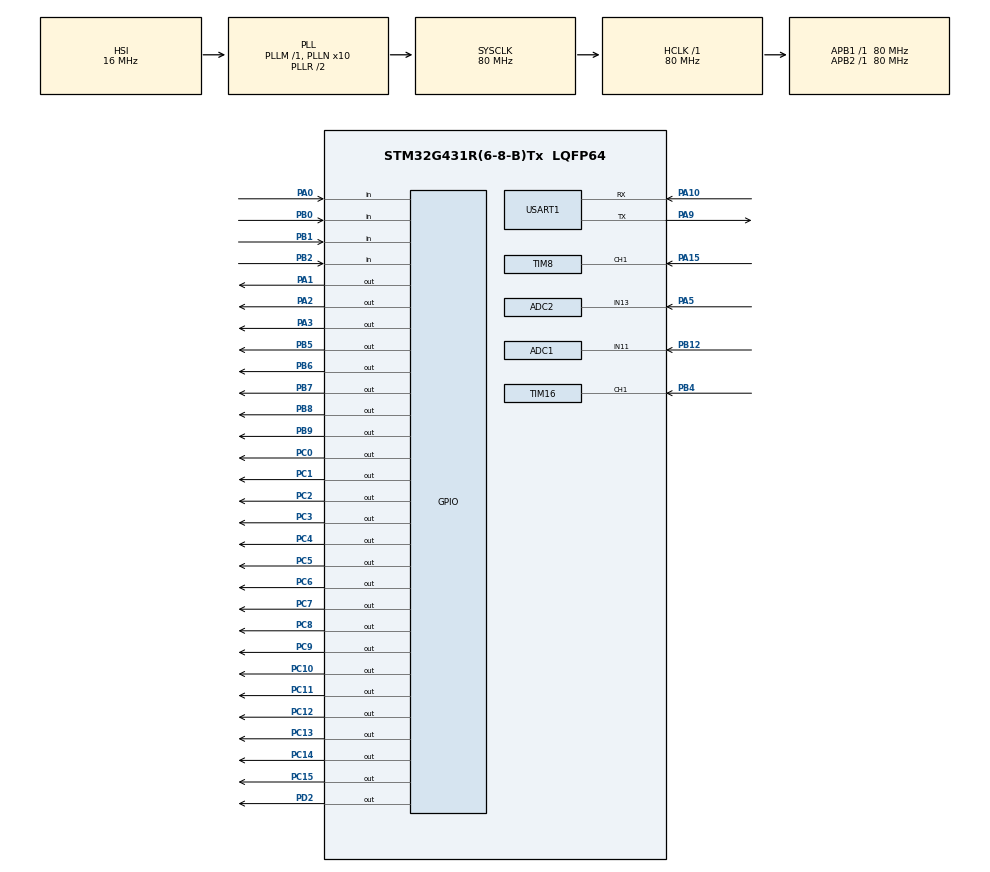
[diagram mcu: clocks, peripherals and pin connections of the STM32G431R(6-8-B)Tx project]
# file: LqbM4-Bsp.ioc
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ADC1.Channel-2\#ChannelRegularConversion=ADC_CHANNEL_11
ADC1.NbrOfConversionFlag=1
ADC1.OffsetNumber-2\#ChannelRegularConversion=ADC_OFFSET_NONE
ADC1.Rank-2\#ChannelRegularConversion=1
ADC1.SamplingTime-2\#ChannelRegularConversion=ADC_SAMPLETIME_2CYCLES_5
ADC1.master=1
ADC2.Channel-2\#ChannelRegularConversion=ADC_CHANNEL_13
ADC2.NbrOfConversionFlag=1
ADC2.OffsetNumber-2\#ChannelRegularConversion=ADC_OFFSET_NONE
ADC2.Rank-2\#ChannelRegularConversion=1
ADC2.SamplingTime-2\#ChannelRegularConversion=ADC_SAMPLETIME_2CYCLES_5
Dma.Request0=USART1_RX
Dma.USART1_RX.0.Direction=DMA_PERIPH_TO_MEMORY
Dma.USART1_RX.0.EventEnable=DISABLE
Dma.USART1_RX.0.Instance=DMA1_Channel1
Dma.USART1_RX.0.MemDataAlignment=DMA_MDATAALIGN_BYTE
Dma.USART1_RX.0.MemInc=DMA_MINC_ENABLE
Dma.USART1_RX.0.Mode=DMA_CIRCULAR
Dma.USART1_RX.0.PeriphDataAlignment=DMA_PDATAALIGN_BYTE
Dma.USART1_RX.0.PeriphInc=DMA_PINC_DISABLE
Dma.USART1_RX.0.Polarity=HAL_DMAMUX_REQ_GEN_RISING
Dma.USART1_RX.0.Priority=DMA_PRIORITY_LOW
Dma.USART1_RX.0.RequestNumber=1
Dma.USART1_RX.0.SignalID=NONE
Dma.USART1_RX.0.SyncEnable=DISABLE
Dma.USART1_RX.0.SyncPolarity=HAL_DMAMUX_SYNC_NO_EVENT
Dma.USART1_RX.0.SyncRequestNumber=1
Dma.USART1_RX.0.SyncSignalID=NONE
Mcu.Family=STM32G4
Mcu.Name=STM32G431R(6-8-B)Tx
Mcu.Package=LQFP64
NVIC.DMA1_Channel1_IRQn=true\:0\:0\:false\:false\:true\:false\:true
NVIC.PriorityGroup=NVIC_PRIORITYGROUP_4
NVIC.TIM1_UP_TIM16_IRQn=true\:0\:0\:false\:false\:true\:true\:true
NVIC.TIM8_CC_IRQn=true\:0\:0\:false\:false\:true\:true\:true
PA0.Signal=GPIO_Input
PA1.Signal=GPIO_Output
PA10.Mode=Asynchronous
PA10.Signal=USART1_RX
PA15.Signal=S_TIM8_CH1
PA2.Signal=GPIO_Output
PA3.Signal=GPIO_Output
PA5.Mode=IN13-Single-Ended
PA5.Signal=ADC2_IN13
PA9.Mode=Asynchronous
PA9.Signal=USART1_TX
PB0.Signal=GPIO_Input
PB1.Signal=GPIO_Input
PB12.Mode=IN11-Single-Ended
PB12.Signal=ADC1_IN11
PB2.Signal=GPIO_Input
PB4.Signal=S_TIM16_CH1
PB5.Signal=GPIO_Output
PB6.Signal=GPIO_Output
PB7.Signal=GPIO_Output
PB8-BOOT0.Signal=GPIO_Output
PB9.Signal=GPIO_Output
PC0.Signal=GPIO_Output
PC1.Signal=GPIO_Output
PC10.Signal=GPIO_Output
PC11.Signal=GPIO_Output
PC12.Signal=GPIO_Output
PC13.Signal=GPIO_Output
PC14-OSC32_IN.Signal=GPIO_Output
PC15-OSC32_OUT.Signal=GPIO_Output
PC2.Signal=GPIO_Output
PC3.Signal=GPIO_Output
PC4.Signal=GPIO_Output
PC5.Signal=GPIO_Output
PC6.Signal=GPIO_Output
PC7.Signal=GPIO_Output
PC8.Signal=GPIO_Output
PC9.Signal=GPIO_Output
PD2.Signal=GPIO_Output
PF0-OSC_IN.Mode=HSE-External-Oscillator
PF0-OSC_IN.Signal=RCC_OSC_IN
PF1-OSC_OUT.Mode=HSE-External-Oscillator
PF1-OSC_OUT.Signal=RCC_OSC_OUT
ProjectManager.HeapSize=0x200
ProjectManager.StackSize=0x400
ProjectManager.TargetToolchain=Other Toolchains (GPDSC)
RCC.ADC12Freq_Value=80000000
RCC.AHBFreq_Value=80000000
RCC.APB1Freq_Value=80000000
RCC.APB1TimFreq_Value=80000000
RCC.APB2Freq_Value=80000000
RCC.APB2TimFreq_Value=80000000
RCC.CortexFreq_Value=80000000
RCC.EXTERNAL_CLOCK_VALUE=12288000
RCC.HCLKFreq_Value=80000000
RCC.HSE_VALUE=24000000
RCC.HSI48_VALUE=48000000
RCC.HSI_VALUE=16000000
RCC.LSE_VALUE=32768
RCC.PLLN=10
RCC.SYSCLKFreq_VALUE=80000000
RCC.SYSCLKSource=RCC_SYSCLKSOURCE_PLLCLK
RCC.USBFreq_Value=80000000
RCC.VCOOutputFreq_Value=160000000
SH.S_TIM16_CH1.0=TIM16_CH1,Input_Capture1_from_TI1
SH.S_TIM8_CH1.0=TIM8_CH1,Input_Capture1_from_TI1
TIM16.AutoReloadPreload=TIM_AUTORELOAD_PRELOAD_ENABLE
TIM16.Channel=TIM_CHANNEL_1
TIM8.AutoReloadPreload=TIM_AUTORELOAD_PRELOAD_ENABLE
TIM8.Channel-Input_Capture1_from_TI1=TIM_CHANNEL_1
USART1.VirtualMode-Asynchronous=VM_ASYNC
VP_SYS_VS_DBSignals.Mode=DisableDeadBatterySignals
VP_TIM16_VS_ClockSourceINT.Mode=Enable_Timer
VP_TIM8_VS_ClockSourceINT.Mode=Internal
board=custom

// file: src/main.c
/* USER CODE BEGIN Header */
/**
  ******************************************************************************
  * @file           : main.c
  * @brief          : Main program body
  ******************************************************************************
  * @attention
  *
  * <h2><center>&copy; Copyright (c) 2021 STMicroelectronics.
  * All rights reserved.</center></h2>
  *
  * This software component is licensed by ST under BSD 3-Clause license,
  * the "License"; You may not use this file except in compliance with the
  * License. You may obtain a copy of the License at:
  *                        opensource.org/licenses/BSD-3-Clause
  *
  ******************************************************************************
  */
/* USER CODE END Header */
#include "main.h"

/* USER CODE BEGIN Includes */
#include "M4Bsp.h"
#include "lcd.h"
/* USER CODE END Includes */

ADC_HandleTypeDef hadc1;
ADC_HandleTypeDef hadc2;

TIM_HandleTypeDef htim8;
TIM_HandleTypeDef htim16;

UART_HandleTypeDef huart1;
DMA_HandleTypeDef hdma_usart1_rx;

/* USER CODE BEGIN PV */
uint8_t LEDStatus = 0x00;
/* USER CODE END PV */

void SystemClock_Config(void);
static void MX_GPIO_Init(void);
static void MX_DMA_Init(void);
static void MX_ADC2_Init(void);
static void MX_ADC1_Init(void);
static void MX_USART1_UART_Init(void);
static void MX_TIM16_Init(void);
static void MX_TIM8_Init(void);

int main(void)
{

  /* MCU Configuration--------------------------------------------------------*/

  /* Reset of all peripherals, Initializes the Flash interface and the Systick. */
  HAL_Init();

  /* Configure the system clock */
  SystemClock_Config();

  /* Initialize all configured peripherals */
  MX_GPIO_Init();
  MX_DMA_Init();
  MX_ADC2_Init();
  MX_ADC1_Init();
  MX_USART1_UART_Init();
  MX_TIM16_Init();
  MX_TIM8_Init();

  /* Infinite loop */
  /* USER CODE BEGIN WHILE */
  LCD_Init();
  LCD_Clear(Black);
  LCD_SetBackColor(Black);
  LCD_SetTextColor(White);

  char str[23] = "   Test Program  ";
  float DS18B20 = 0;
  uint8_t DHT11[2] = {0};
  uint16_t ICPeriod[2] = {0};
  float ADCR38 = 0;

  uint32_t DHT11LastTick = 0, DHT11NowTick = 0;

  LCD_DisplayStringLine(Line0, (uint8_t *)str);
  while (1)
  {
    // Keys Test
    M4_Key_Scan();

    // ADC Keys Test
    M4_EX_ADCKey_Scan();

    // Input capture(R39 R40)
    M4_R39IC_Start();
    M4_R40IC_Start();
    HAL_Delay(2);
    ICPeriod[0] = M4_R39IC_GetPeriod();
    ICPeriod[1] = M4_R40IC_GetPeriod();
    M4_R39IC_Stop();
    M4_R40IC_Stop();

    sprintf(str, " R39:%d R40:%d  ", ICPeriod[0], ICPeriod[1]);
    LCD_DisplayStringLine(Line2, (uint8_t *)str);

    // ADC Test
    ADCR38 = M4_R38_GetValue();
    sprintf(str, " R38:%.2fV         ", ADCR38);
    LCD_DisplayStringLine(Line3, (uint8_t *)str);

    // DS18B20 Test
    M4_EX_TS_Convert();
    DS18B20 = M4_EX_TS_Read();

    sprintf(str, " DS18B20:%.4f    ", DS18B20);
    LCD_DisplayStringLine(Line5, (uint8_t *)str);

    // DHT11 Test
    DHT11NowTick = HAL_GetTick();
    if(DHT11NowTick - DHT11LastTick > 1000)
    {
      M4_EX_THS_Read(DHT11, DHT11 + 1);
      DHT11LastTick = DHT11NowTick;
    }

    sprintf(str, " DHT11:%dC  %d%%  ", DHT11[0], DHT11[1]);
    LCD_DisplayStringLine(Line6, (uint8_t *)str);

    /* USER CODE END WHILE */

  }
}

void SystemClock_Config(void)
{
  RCC_OscInitTypeDef RCC_OscInitStruct = {0};
  RCC_ClkInitTypeDef RCC_ClkInitStruct = {0};
  RCC_PeriphCLKInitTypeDef PeriphClkInit = {0};

  /** Configure the main internal regulator output voltage
  */
  HAL_PWREx_ControlVoltageScaling(PWR_REGULATOR_VOLTAGE_SCALE1);
  /** Initializes the RCC Oscillators according to the specified parameters
  * in the RCC_OscInitTypeDef structure.
  */
  RCC_OscInitStruct.OscillatorType = RCC_OSCILLATORTYPE_HSI;
  RCC_OscInitStruct.HSIState = RCC_HSI_ON;
  RCC_OscInitStruct.HSICalibrationValue = RCC_HSICALIBRATION_DEFAULT;
  RCC_OscInitStruct.PLL.PLLState = RCC_PLL_ON;
  RCC_OscInitStruct.PLL.PLLSource = RCC_PLLSOURCE_HSI;
  RCC_OscInitStruct.PLL.PLLM = RCC_PLLM_DIV1;
  RCC_OscInitStruct.PLL.PLLN = 10;
  RCC_OscInitStruct.PLL.PLLP = RCC_PLLP_DIV2;
  RCC_OscInitStruct.PLL.PLLQ = RCC_PLLQ_DIV2;
  RCC_OscInitStruct.PLL.PLLR = RCC_PLLR_DIV2;
  if (HAL_RCC_OscConfig(&RCC_OscInitStruct) != HAL_OK)
  {
    Error_Handler();
  }
  /** Initializes the CPU, AHB and APB buses clocks
  */
  RCC_ClkInitStruct.ClockType = RCC_CLOCKTYPE_HCLK|RCC_CLOCKTYPE_SYSCLK
                              |RCC_CLOCKTYPE_PCLK1|RCC_CLOCKTYPE_PCLK2;
  RCC_ClkInitStruct.SYSCLKSource = RCC_SYSCLKSOURCE_PLLCLK;
  RCC_ClkInitStruct.AHBCLKDivider = RCC_SYSCLK_DIV1;
  RCC_ClkInitStruct.APB1CLKDivider = RCC_HCLK_DIV1;
  RCC_ClkInitStruct.APB2CLKDivider = RCC_HCLK_DIV1;

  if (HAL_RCC_ClockConfig(&RCC_ClkInitStruct, FLASH_LATENCY_2) != HAL_OK)
  {
    Error_Handler();
  }
  /** Initializes the peripherals clocks
  */
  PeriphClkInit.PeriphClockSelection = RCC_PERIPHCLK_USART1|RCC_PERIPHCLK_ADC12;
  PeriphClkInit.Usart1ClockSelection = RCC_USART1CLKSOURCE_PCLK2;
  PeriphClkInit.Adc12ClockSelection = RCC_ADC12CLKSOURCE_SYSCLK;
  if (HAL_RCCEx_PeriphCLKConfig(&PeriphClkInit) != HAL_OK)
  {
    Error_Handler();
  }
}

static void MX_ADC1_Init(void)
{

  ADC_MultiModeTypeDef multimode = {0};
  ADC_ChannelConfTypeDef sConfig = {0};

  /** Common config
  */
  hadc1.Instance = ADC1;
  hadc1.Init.ClockPrescaler = ADC_CLOCK_SYNC_PCLK_DIV2;
  hadc1.Init.Resolution = ADC_RESOLUTION_12B;
  hadc1.Init.DataAlign = ADC_DATAALIGN_RIGHT;
  hadc1.Init.GainCompensation = 0;
  hadc1.Init.ScanConvMode = ADC_SCAN_DISABLE;
  hadc1.Init.EOCSelection = ADC_EOC_SINGLE_CONV;
  hadc1.Init.LowPowerAutoWait = DISABLE;
  hadc1.Init.ContinuousConvMode = DISABLE;
  hadc1.Init.NbrOfConversion = 1;
  hadc1.Init.DiscontinuousConvMode = DISABLE;
  hadc1.Init.ExternalTrigConv = ADC_SOFTWARE_START;
  hadc1.Init.ExternalTrigConvEdge = ADC_EXTERNALTRIGCONVEDGE_NONE;
  hadc1.Init.DMAContinuousRequests = DISABLE;
  hadc1.Init.Overrun = ADC_OVR_DATA_PRESERVED;
  hadc1.Init.OversamplingMode = DISABLE;
  if (HAL_ADC_Init(&hadc1) != HAL_OK)
  {
    Error_Handler();
  }
  /** Configure the ADC multi-mode
  */
  multimode.Mode = ADC_MODE_INDEPENDENT;
  if (HAL_ADCEx_MultiModeConfigChannel(&hadc1, &multimode) != HAL_OK)
  {
    Error_Handler();
  }
  /** Configure Regular Channel
  */
  sConfig.Channel = ADC_CHANNEL_11;
  sConfig.Rank = ADC_REGULAR_RANK_1;
  sConfig.SamplingTime = ADC_SAMPLETIME_2CYCLES_5;
  sConfig.SingleDiff = ADC_SINGLE_ENDED;
  sConfig.OffsetNumber = ADC_OFFSET_NONE;
  sConfig.Offset = 0;
  if (HAL_ADC_ConfigChannel(&hadc1, &sConfig) != HAL_OK)
  {
    Error_Handler();
  }

}

static void MX_ADC2_Init(void)
{

  ADC_ChannelConfTypeDef sConfig = {0};

  /** Common config
  */
  hadc2.Instance = ADC2;
  hadc2.Init.ClockPrescaler = ADC_CLOCK_SYNC_PCLK_DIV2;
  hadc2.Init.Resolution = ADC_RESOLUTION_12B;
  hadc2.Init.DataAlign = ADC_DATAALIGN_RIGHT;
  hadc2.Init.GainCompensation = 0;
  hadc2.Init.ScanConvMode = ADC_SCAN_DISABLE;
  hadc2.Init.EOCSelection = ADC_EOC_SINGLE_CONV;
  hadc2.Init.LowPowerAutoWait = DISABLE;
  hadc2.Init.ContinuousConvMode = DISABLE;
  hadc2.Init.NbrOfConversion = 1;
  hadc2.Init.DiscontinuousConvMode = DISABLE;
  hadc2.Init.ExternalTrigConv = ADC_SOFTWARE_START;
  hadc2.Init.ExternalTrigConvEdge = ADC_EXTERNALTRIGCONVEDGE_NONE;
  hadc2.Init.DMAContinuousRequests = DISABLE;
  hadc2.Init.Overrun = ADC_OVR_DATA_PRESERVED;
  hadc2.Init.OversamplingMode = DISABLE;
  if (HAL_ADC_Init(&hadc2) != HAL_OK)
  {
    Error_Handler();
  }
  /** Configure Regular Channel
  */
  sConfig.Channel = ADC_CHANNEL_13;
  sConfig.Rank = ADC_REGULAR_RANK_1;
  sConfig.SamplingTime = ADC_SAMPLETIME_2CYCLES_5;
  sConfig.SingleDiff = ADC_SINGLE_ENDED;
  sConfig.OffsetNumber = ADC_OFFSET_NONE;
  sConfig.Offset = 0;
  if (HAL_ADC_ConfigChannel(&hadc2, &sConfig) != HAL_OK)
  {
    Error_Handler();
  }

}

static void MX_TIM8_Init(void)
{

  TIM_ClockConfigTypeDef sClockSourceConfig = {0};
  TIM_MasterConfigTypeDef sMasterConfig = {0};
  TIM_IC_InitTypeDef sConfigIC = {0};

  htim8.Instance = TIM8;
  htim8.Init.Prescaler = 0;
  htim8.Init.CounterMode = TIM_COUNTERMODE_UP;
  htim8.Init.Period = 65535;
  htim8.Init.ClockDivision = TIM_CLOCKDIVISION_DIV1;
  htim8.Init.RepetitionCounter = 0;
  htim8.Init.AutoReloadPreload = TIM_AUTORELOAD_PRELOAD_ENABLE;
  if (HAL_TIM_Base_Init(&htim8) != HAL_OK)
  {
    Error_Handler();
  }
  sClockSourceConfig.ClockSource = TIM_CLOCKSOURCE_INTERNAL;
  if (HAL_TIM_ConfigClockSource(&htim8, &sClockSourceConfig) != HAL_OK)
  {
    Error_Handler();
  }
  if (HAL_TIM_IC_Init(&htim8) != HAL_OK)
  {
    Error_Handler();
  }
  sMasterConfig.MasterOutputTrigger = TIM_TRGO_RESET;
  sMasterConfig.MasterOutputTrigger2 = TIM_TRGO2_RESET;
  sMasterConfig.MasterSlaveMode = TIM_MASTERSLAVEMODE_DISABLE;
  if (HAL_TIMEx_MasterConfigSynchronization(&htim8, &sMasterConfig) != HAL_OK)
  {
    Error_Handler();
  }
  sConfigIC.ICPolarity = TIM_INPUTCHANNELPOLARITY_RISING;
  sConfigIC.ICSelection = TIM_ICSELECTION_DIRECTTI;
  sConfigIC.ICPrescaler = TIM_ICPSC_DIV1;
  sConfigIC.ICFilter = 0;
  if (HAL_TIM_IC_ConfigChannel(&htim8, &sConfigIC, TIM_CHANNEL_1) != HAL_OK)
  {
    Error_Handler();
  }

}

static void MX_TIM16_Init(void)
{

  TIM_IC_InitTypeDef sConfigIC = {0};

  htim16.Instance = TIM16;
  htim16.Init.Prescaler = 0;
  htim16.Init.CounterMode = TIM_COUNTERMODE_UP;
  htim16.Init.Period = 65535;
  htim16.Init.ClockDivision = TIM_CLOCKDIVISION_DIV1;
  htim16.Init.RepetitionCounter = 0;
  htim16.Init.AutoReloadPreload = TIM_AUTORELOAD_PRELOAD_ENABLE;
  if (HAL_TIM_Base_Init(&htim16) != HAL_OK)
  {
    Error_Handler();
  }
  if (HAL_TIM_IC_Init(&htim16) != HAL_OK)
  {
    Error_Handler();
  }
  sConfigIC.ICPolarity = TIM_INPUTCHANNELPOLARITY_RISING;
  sConfigIC.ICSelection = TIM_ICSELECTION_DIRECTTI;
  sConfigIC.ICPrescaler = TIM_ICPSC_DIV1;
  sConfigIC.ICFilter = 0;
  if (HAL_TIM_IC_ConfigChannel(&htim16, &sConfigIC, TIM_CHANNEL_1) != HAL_OK)
  {
    Error_Handler();
  }

}

static void MX_USART1_UART_Init(void)
{

  huart1.Instance = USART1;
  huart1.Init.BaudRate = 115200;
  huart1.Init.WordLength = UART_WORDLENGTH_8B;
  huart1.Init.StopBits = UART_STOPBITS_1;
  huart1.Init.Parity = UART_PARITY_NONE;
  huart1.Init.Mode = UART_MODE_TX_RX;
  huart1.Init.HwFlowCtl = UART_HWCONTROL_NONE;
  huart1.Init.OverSampling = UART_OVERSAMPLING_16;
  huart1.Init.OneBitSampling = UART_ONE_BIT_SAMPLE_DISABLE;
  huart1.Init.ClockPrescaler = UART_PRESCALER_DIV1;
  huart1.AdvancedInit.AdvFeatureInit = UART_ADVFEATURE_NO_INIT;
  if (HAL_UART_Init(&huart1) != HAL_OK)
  {
    Error_Handler();
  }
  if (HAL_UARTEx_SetTxFifoThreshold(&huart1, UART_TXFIFO_THRESHOLD_1_8) != HAL_OK)
  {
    Error_Handler();
  }
  if (HAL_UARTEx_SetRxFifoThreshold(&huart1, UART_RXFIFO_THRESHOLD_1_8) != HAL_OK)
  {
    Error_Handler();
  }
  if (HAL_UARTEx_DisableFifoMode(&huart1) != HAL_OK)
  {
    Error_Handler();
  }

}

static void MX_DMA_Init(void)
{

  /* DMA controller clock enable */
  __HAL_RCC_DMAMUX1_CLK_ENABLE();
  __HAL_RCC_DMA1_CLK_ENABLE();

  /* DMA interrupt init */
  /* DMA1_Channel1_IRQn interrupt configuration */
  HAL_NVIC_SetPriority(DMA1_Channel1_IRQn, 0, 0);
  HAL_NVIC_EnableIRQ(DMA1_Channel1_IRQn);

}

static void MX_GPIO_Init(void)
{
  GPIO_InitTypeDef GPIO_InitStruct = {0};

  /* GPIO Ports Clock Enable */
  __HAL_RCC_GPIOC_CLK_ENABLE();
  __HAL_RCC_GPIOF_CLK_ENABLE();
  __HAL_RCC_GPIOA_CLK_ENABLE();
  __HAL_RCC_GPIOB_CLK_ENABLE();
  __HAL_RCC_GPIOD_CLK_ENABLE();

  /*Configure GPIO pin Output Level */
  HAL_GPIO_WritePin(GPIOC, GPIO_PIN_13|GPIO_PIN_14|GPIO_PIN_15|GPIO_PIN_0
                          |GPIO_PIN_1|GPIO_PIN_2|GPIO_PIN_3|GPIO_PIN_4
                          |GPIO_PIN_5|GPIO_PIN_6|GPIO_PIN_7|GPIO_PIN_8
                          |GPIO_PIN_9|GPIO_PIN_10|GPIO_PIN_11|GPIO_PIN_12, GPIO_PIN_RESET);

  /*Configure GPIO pin Output Level */
  HAL_GPIO_WritePin(GPIOA, GPIO_PIN_1|GPIO_PIN_2|GPIO_PIN_3, GPIO_PIN_RESET);

  /*Configure GPIO pin Output Level */
  HAL_GPIO_WritePin(GPIOD, GPIO_PIN_2, GPIO_PIN_RESET);

  /*Configure GPIO pin Output Level */
  HAL_GPIO_WritePin(GPIOB, GPIO_PIN_5|GPIO_PIN_6|GPIO_PIN_7|GPIO_PIN_8
                          |GPIO_PIN_9, GPIO_PIN_RESET);

  /*Configure GPIO pins : PC13 PC14 PC15 PC0
                           PC1 PC2 PC3 PC4
                           PC5 PC6 PC7 PC8
                           PC9 PC10 PC11 PC12 */
  GPIO_InitStruct.Pin = GPIO_PIN_13|GPIO_PIN_14|GPIO_PIN_15|GPIO_PIN_0
                          |GPIO_PIN_1|GPIO_PIN_2|GPIO_PIN_3|GPIO_PIN_4
                          |GPIO_PIN_5|GPIO_PIN_6|GPIO_PIN_7|GPIO_PIN_8
                          |GPIO_PIN_9|GPIO_PIN_10|GPIO_PIN_11|GPIO_PIN_12;
  GPIO_InitStruct.Mode = GPIO_MODE_OUTPUT_PP;
  GPIO_InitStruct.Pull = GPIO_NOPULL;
  GPIO_InitStruct.Speed = GPIO_SPEED_FREQ_LOW;
  HAL_GPIO_Init(GPIOC, &GPIO_InitStruct);

  /*Configure GPIO pin : PA0 */
  GPIO_InitStruct.Pin = GPIO_PIN_0;
  GPIO_InitStruct.Mode = GPIO_MODE_INPUT;
  GPIO_InitStruct.Pull = GPIO_NOPULL;
  HAL_GPIO_Init(GPIOA, &GPIO_InitStruct);

  /*Configure GPIO pins : PA1 PA2 PA3 */
  GPIO_InitStruct.Pin = GPIO_PIN_1|GPIO_PIN_2|GPIO_PIN_3;
  GPIO_InitStruct.Mode = GPIO_MODE_OUTPUT_PP;
  GPIO_InitStruct.Pull = GPIO_NOPULL;
  GPIO_InitStruct.Speed = GPIO_SPEED_FREQ_LOW;
  HAL_GPIO_Init(GPIOA, &GPIO_InitStruct);

  /*Configure GPIO pins : PB0 PB1 PB2 */
  GPIO_InitStruct.Pin = GPIO_PIN_0|GPIO_PIN_1|GPIO_PIN_2;
  GPIO_InitStruct.Mode = GPIO_MODE_INPUT;
  GPIO_InitStruct.Pull = GPIO_NOPULL;
  HAL_GPIO_Init(GPIOB, &GPIO_InitStruct);

  /*Configure GPIO pin : PD2 */
  GPIO_InitStruct.Pin = GPIO_PIN_2;
  GPIO_InitStruct.Mode = GPIO_MODE_OUTPUT_PP;
  GPIO_InitStruct.Pull = GPIO_NOPULL;
  GPIO_InitStruct.Speed = GPIO_SPEED_FREQ_LOW;
  HAL_GPIO_Init(GPIOD, &GPIO_InitStruct);

  /*Configure GPIO pins : PB5 PB6 PB7 PB8
                           PB9 */
  GPIO_InitStruct.Pin = GPIO_PIN_5|GPIO_PIN_6|GPIO_PIN_7|GPIO_PIN_8
                          |GPIO_PIN_9;
  GPIO_InitStruct.Mode = GPIO_MODE_OUTPUT_PP;
  GPIO_InitStruct.Pull = GPIO_NOPULL;
  GPIO_InitStruct.Speed = GPIO_SPEED_FREQ_LOW;
  HAL_GPIO_Init(GPIOB, &GPIO_InitStruct);

}

/* USER CODE BEGIN 4 */
void M4_Key_Scan_Callback(uint8_t KeyID, uint8_t KeyStatus, uint32_t DownTim)
{
  char str[22] = {0};
  if(KeyStatus == M4_KEY_DOWN)
  {
    if(DownTim > 1000)// Now long down
      sprintf(str, " B%d Now Long Down ", KeyID);
  }
  else
  {
    if(DownTim > 1000)// Long click
      sprintf(str, " B%d Long Click    ", KeyID);
    else// Short cilck
      sprintf(str, " B%d Short cilck   ", KeyID);
  }
  LCD_DisplayStringLine(Line8, (uint8_t *)str);
}

void M4_EX_ADCKey_Scan_Callback(uint8_t KeyID, uint8_t KeyStatus, uint32_t DownTim)
{
  uint8_t mask = (0x01 << (KeyID - 1));
  if(KeyStatus == M4_KEY_DOWN)
  {
    if(DownTim > 1000)// Now long down
      LEDStatus ^= mask;
    else
      LEDStatus |= mask;
  }
  else
  {
    if(DownTim > 1000)// Long click
      LEDStatus = mask;
    else// Short cilck
      LEDStatus -= mask;
  }
  M4_Led_Set(LEDStatus << 8);
}
/* USER CODE END 4 */

void Error_Handler(void)
{
  __disable_irq();
  while (1)
  {
  }
}

/************************ (C) COPYRIGHT STMicroelectronics *****END OF FILE****/
